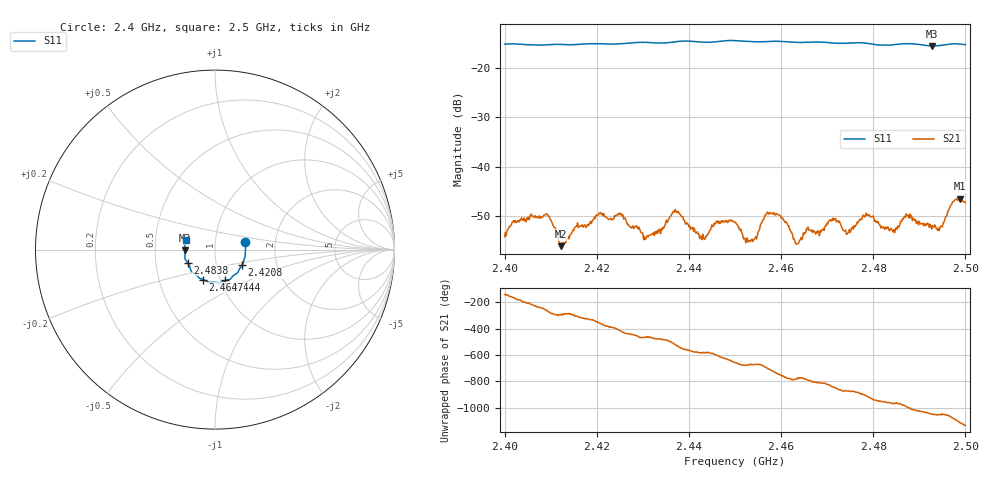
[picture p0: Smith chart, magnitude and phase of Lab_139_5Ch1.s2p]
# Hz S RI R 50
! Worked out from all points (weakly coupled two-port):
!   601 points, 2.4 GHz to 2.5 GHz, reference 50 ohm
!   highest |S21| = -46.43 dB at 2.4988 GHz (marker M1); lowest = -56.1 dB at 2.4122 GHz (marker M2)
!   lowest |S11| = -15.6 dB at 2.4928 GHz (marker M3), VSWR 1.40, Z = 35.8 - j0.355 ohm
!   |S11| at or under -10 dB: start of sweep to end of sweep
!   S12 and S22 are empty: the file has one direction only
!   S11 on the Smith chart (normalised r, x): 2.4 GHz: 1.40, +0.12; 2.4208 GHz: 1.33, -0.24; 2.444 GHz: 1.06, -0.37; 2.4647 GHz: 0.83, -0.29; 2.4838 GHz: 0.73, -0.11; 2.5 GHz: 0.72, +0.08
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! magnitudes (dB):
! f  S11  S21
! 2.4 GHz  -15.3  -54.2
! 2.409 GHz  -15.4  -49.7
! 2.4122 GHz  -15.3  -56.1
! 2.4167 GHz  -15.2  -51.9
! 2.4208 GHz  -15.2  -49.3
! 2.4333 GHz  -15.0  -52.8
! 2.4372 GHz  -14.8  -48.9
! 2.444 GHz  -14.9  -53.8
! 2.45 GHz  -14.5  -51.2
! 2.4533 GHz  -14.7  -55.1
! 2.458 GHz  -14.7  -49.5
! 2.4647 GHz  -14.9  -54.3
! 2.4667 GHz  -14.8  -52.8
! 2.4713 GHz  -15.0  -50.9
! 2.4747 GHz  -15.0  -53.2
! 2.4788 GHz  -15.1  -49.7
! 2.4833 GHz  -15.5  -52.6
! 2.4838 GHz  -15.4  -52.4
! 2.4875 GHz  -15.1  -50.0
! 2.4928 GHz  -15.6  -51.9
! 2.4988 GHz  -15.2  -46.4
! 2.5 GHz  -15.3  -47.3
